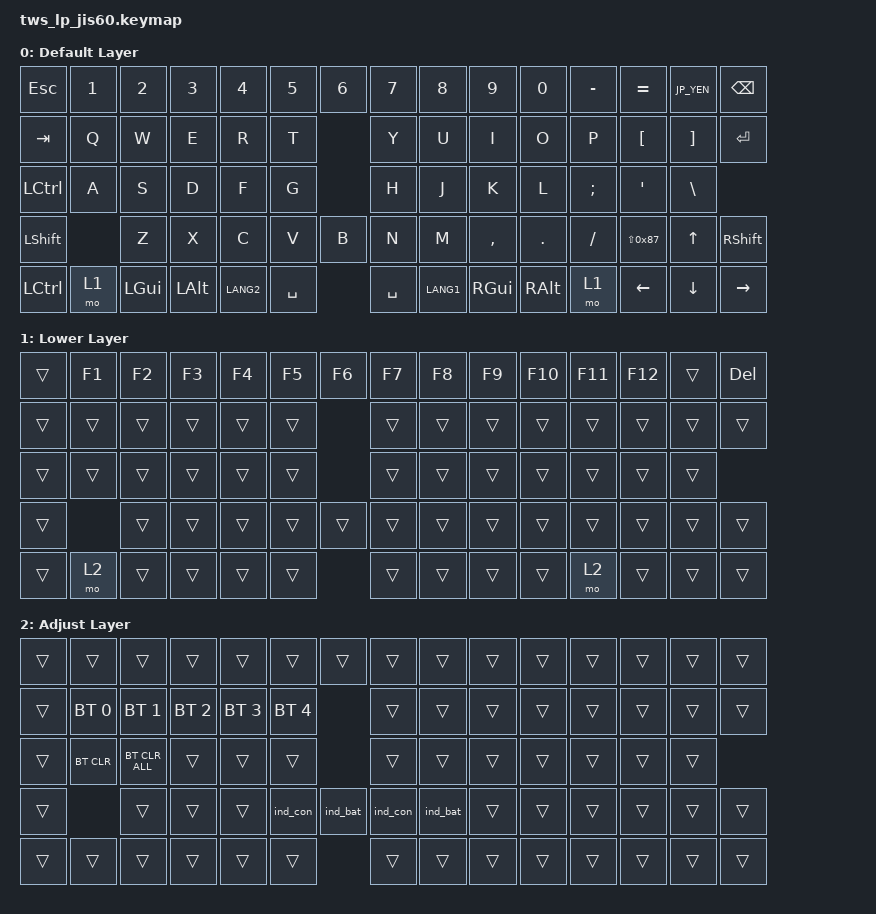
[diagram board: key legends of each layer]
#include <behaviors/rgbled_widget.dtsi>
#include <behaviors.dtsi>
#include <dt-bindings/zmk/bt.h>
#include <dt-bindings/zmk/keys.h>

// JIS keyboard layout conversion definitions
// Reference: https://note.com/kloir_z/n/n314e739f03a1

#define JP_CARET EQUAL       // ^
#define JP_AT LEFT_BRACKET   // @
#define JP_COLON SINGLE_QUOTE // :
#define JP_LBRACKET RIGHT_BRACKET // [
#define JP_RBRACKET BACKSLASH     // ]
#define JP_YEN      0x89          // ¥
#define JP_UNDSCR   LS(0x87)      // _

/ {
    combos {
        compatible = "zmk,combos";

        cbSoftOff {
            bindings = <&soft_off>;
            key-positions = <0 1 2>;
        };
    };

    keymap {
        compatible = "zmk,keymap";

        default_layer {
            display-name = "Default Layer";

            // -----------------------------------------------------------------------------------------
            // | ESC |   1   |  2  |  3  |  4  |  5  |  6  |     |  7  |  8  |  9  |  0  |  -  |  ^  |  \  |  BSPC |
            //       |  TAB  |  Q  |  W  |  E  |  R  |  T  |     |  Y  |  U  |  I  |  O  |  P  |  @  |  [  | ENTER |
            //       |  CTRL |  A  |  S  |  D  |  F  |  G  |     |  H  |  J  |  K  |  L  |  ;  |  :  |  ]  |
            //       | SHIFT |  Z  |  X  |  C  |  V  |  B  |     |  N  |  M  |  ,  |  .  |  /  |  \  |  ↑  | SHIFT |
            //       |  CTRL | Fn  | GUI | ALT |EISU | SPC |     | SPC | KANA| GUI | ALT | Fn  |  ←  |  ↓  |   →   |

            bindings = <
&kp ESC    &kp N1  &kp N2    &kp N3    &kp N4     &kp N5     &kp N6    &kp N7     &kp N8     &kp N9     &kp N0    &kp MINUS  &kp JP_CARET   &kp JP_YEN       &kp BSPC
&kp TAB    &kp Q   &kp W     &kp E     &kp R      &kp T                &kp Y      &kp U      &kp I      &kp O     &kp P      &kp JP_AT      &kp JP_LBRACKET  &kp ENTER
&kp LCTRL  &kp A   &kp S     &kp D     &kp F      &kp G                &kp H      &kp J      &kp K      &kp L     &kp SEMI   &kp JP_COLON   &kp JP_RBRACKET
&kp LSHFT          &kp Z     &kp X     &kp C      &kp V      &kp B     &kp N      &kp M      &kp COMMA  &kp DOT   &kp FSLH   &kp JP_UNDSCR  &kp UP           &kp RSHFT
&kp LCTRL  &mo 1   &kp LGUI  &kp LALT  &kp LANG2  &kp SPACE            &kp SPACE  &kp LANG1  &kp RGUI   &kp RALT  &mo 1      &kp LEFT       &kp DOWN         &kp RIGHT
            >;
        };

        lower_layer {
            display-name = "Lower Layer";

            // -----------------------------------------------------------------------------------------
            // |     |   F1  |  F2 |  F3 |  F4 |  F5 |  F6 |       |  F7 |  F8 |  F9 | F10 | F11 | F12 |     | DEL |
            //       |       |     |     |     |     |     |       |     |     |     |     |     |     |     |     |
            //       |       |     |     |     |     |     |       |     |     |     |     |     |     |     |
            //       |       |     |     |     |     |     |       |     |     |     |     |     |     |     |
            //       |       | Fn  |     |     |     |     |       |     |     |     |     | Fn  |     |     |

            bindings = <
&trans  &kp F1  &kp F2  &kp F3  &kp F4  &kp F5  &kp F6    &kp F7  &kp F8  &kp F9  &kp F10  &kp F11  &kp F12  &trans  &kp DEL
&trans  &trans  &trans  &trans  &trans  &trans            &trans  &trans  &trans  &trans   &trans   &trans   &trans  &trans
&trans  &trans  &trans  &trans  &trans  &trans            &trans  &trans  &trans  &trans   &trans   &trans   &trans
&trans          &trans  &trans  &trans  &trans  &trans    &trans  &trans  &trans  &trans   &trans   &trans   &trans  &trans
&trans  &mo 2   &trans  &trans  &trans  &trans            &trans  &trans  &trans  &trans   &mo 2    &trans   &trans  &trans
            >;
        };

        adjust_layer {
            display-name = "Adjust Layer";

            // -----------------------------------------------------------------------------------------
            // |     |     |     |     |     |     |     |       |     |     |     |     |     |     |     |     |
            //       |     | BT1 | BT2 | BT3 | BT4 | BT5 |       |     |     |     |     |     |     |     |     |
            //       |     | CLR |CLRAL|     |     |     |       |     |     |     |     |     |     |     |
            //       |     |     |     |     | CON | BAT |       | CON | BAT |     |     |     |     |     |
            //       |     |     |     |     |     |     |       |     |     |     |     |     |     |     |

            bindings = <
&trans  &trans        &trans          &trans        &trans        &trans        &trans      &trans    &trans    &trans  &trans  &trans  &trans  &trans  &trans
&trans  &bt BT_SEL 0  &bt BT_SEL 1    &bt BT_SEL 2  &bt BT_SEL 3  &bt BT_SEL 4              &trans    &trans    &trans  &trans  &trans  &trans  &trans  &trans
&trans  &bt BT_CLR    &bt BT_CLR_ALL  &trans        &trans        &trans                    &trans    &trans    &trans  &trans  &trans  &trans  &trans
&trans                &trans          &trans        &trans        &ind_con      &ind_bat    &ind_con  &ind_bat  &trans  &trans  &trans  &trans  &trans  &trans
&trans  &trans        &trans          &trans        &trans        &trans                    &trans    &trans    &trans  &trans  &trans  &trans  &trans  &trans
            >;
        };
    };
};
